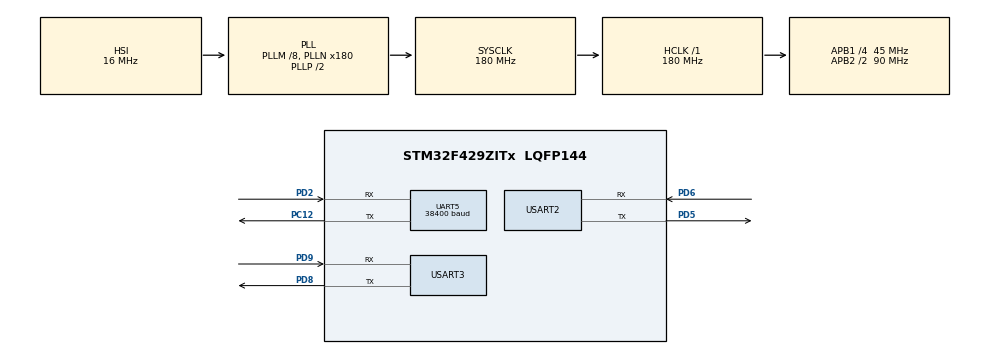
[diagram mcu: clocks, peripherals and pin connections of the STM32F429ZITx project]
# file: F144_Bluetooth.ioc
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Mcu.Family=STM32F4
Mcu.Name=STM32F429ZITx
Mcu.Package=LQFP144
NVIC.PriorityGroup=NVIC_PRIORITYGROUP_4
NVIC.USART2_IRQn=true\:0\:0\:false\:false\:true\:true
NVIC.USART3_IRQn=true\:0\:0\:false\:false\:true\:true
PA13.Mode=Serial_Wire
PA13.Signal=SYS_JTMS-SWDIO
PA14.Mode=Serial_Wire
PA14.Signal=SYS_JTCK-SWCLK
PC12.Mode=Asynchronous
PC12.Signal=UART5_TX
PC14/OSC32_IN.Mode=LSE-External-Oscillator
PC14/OSC32_IN.Signal=RCC_OSC32_IN
PC15/OSC32_OUT.Mode=LSE-External-Oscillator
PC15/OSC32_OUT.Signal=RCC_OSC32_OUT
PD2.Mode=Asynchronous
PD2.Signal=UART5_RX
PD5.Mode=Asynchronous
PD5.Signal=USART2_TX
PD6.Mode=Asynchronous
PD6.Signal=USART2_RX
PD8.Mode=Asynchronous
PD8.Signal=USART3_TX
PD9.Mode=Asynchronous
PD9.Signal=USART3_RX
PH0/OSC_IN.Mode=HSE-External-Oscillator
PH0/OSC_IN.Signal=RCC_OSC_IN
PH1/OSC_OUT.Mode=HSE-External-Oscillator
PH1/OSC_OUT.Signal=RCC_OSC_OUT
ProjectManager.HeapSize=0x200
ProjectManager.StackSize=0x400
ProjectManager.TargetToolchain=EWARM V8
RCC.48MHZClocksFreq_Value=90000000
RCC.AHBFreq_Value=180000000
RCC.APB1CLKDivider=RCC_HCLK_DIV4
RCC.APB1Freq_Value=45000000
RCC.APB1TimFreq_Value=90000000
RCC.APB2CLKDivider=RCC_HCLK_DIV2
RCC.APB2Freq_Value=90000000
RCC.APB2TimFreq_Value=180000000
RCC.CortexFreq_Value=180000000
RCC.HCLKFreq_Value=180000000
RCC.HSE_VALUE=25000000
RCC.HSI_VALUE=16000000
RCC.PLLM=8
RCC.PLLN=180
RCC.SYSCLKFreq_VALUE=180000000
RCC.SYSCLKSource=RCC_SYSCLKSOURCE_PLLCLK
RCC.VCOOutputFreq_Value=360000000
UART5.BaudRate=38400
UART5.VirtualMode=Asynchronous
USART2.VirtualMode=VM_ASYNC
USART3.VirtualMode=VM_ASYNC
board=custom

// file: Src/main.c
/* USER CODE BEGIN Header */
/**
  ******************************************************************************
  * @file           : main.c
  * @brief          : Main program body
  ******************************************************************************
  ** This notice applies to any and all portions of this file
  * that are not between comment pairs USER CODE BEGIN and
  * USER CODE END. Other portions of this file, whether
  * inserted by the user or by software development tools
  * are owned by their respective copyright owners.
  *
  * COPYRIGHT(c) 2019 STMicroelectronics
  *
  * Redistribution and use in source and binary forms, with or without modification,
  * are permitted provided that the following conditions are met:
  *   1. Redistributions of source code must retain the above copyright notice,
  *      this list of conditions and the following disclaimer.
  *   2. Redistributions in binary form must reproduce the above copyright notice,
  *      this list of conditions and the following disclaimer in the documentation
  *      and/or other materials provided with the distribution.
  *   3. Neither the name of STMicroelectronics nor the names of its contributors
  *      may be used to endorse or promote products derived from this software
  *      without specific prior written permission.
  *
  * THIS SOFTWARE IS PROVIDED BY THE COPYRIGHT HOLDERS AND CONTRIBUTORS "AS IS"
  * AND ANY EXPRESS OR IMPLIED WARRANTIES, INCLUDING, BUT NOT LIMITED TO, THE
  * IMPLIED WARRANTIES OF MERCHANTABILITY AND FITNESS FOR A PARTICULAR PURPOSE ARE
  * DISCLAIMED. IN NO EVENT SHALL THE COPYRIGHT HOLDER OR CONTRIBUTORS BE LIABLE
  * FOR ANY DIRECT, INDIRECT, INCIDENTAL, SPECIAL, EXEMPLARY, OR CONSEQUENTIAL
  * DAMAGES (INCLUDING, BUT NOT LIMITED TO, PROCUREMENT OF SUBSTITUTE GOODS OR
  * SERVICES; LOSS OF USE, DATA, OR PROFITS; OR BUSINESS INTERRUPTION) HOWEVER
  * CAUSED AND ON ANY THEORY OF LIABILITY, WHETHER IN CONTRACT, STRICT LIABILITY,
  * OR TORT (INCLUDING NEGLIGENCE OR OTHERWISE) ARISING IN ANY WAY OUT OF THE USE
  * OF THIS SOFTWARE, EVEN IF ADVISED OF THE POSSIBILITY OF SUCH DAMAGE.
  *
  ******************************************************************************
  */
/* USER CODE END Header */

#include "main.h"

/* USER CODE BEGIN Includes */
#include "bluetooth.h"
/* USER CODE END Includes */

/* USER CODE BEGIN PD */
#define PUTCHAR_PROTOTPYE int fputc(int ch, FILE *f)
/* USER CODE END PD */

UART_HandleTypeDef huart5;
UART_HandleTypeDef huart2;
UART_HandleTypeDef huart3;

void SystemClock_Config(void);
static void MX_GPIO_Init(void);
static void MX_USART3_UART_Init(void);
static void MX_USART2_UART_Init(void);
static void MX_UART5_Init(void);
/* USER CODE BEGIN PFP */
void CommandPrint();
/* USER CODE END PFP */

/* USER CODE BEGIN 0 */
int fputc(int ch, FILE *F)
{
  uint8_t temp[1] = {ch};

  HAL_UART_Transmit(&huart3, temp, 1, 0xFFFF);
  return ch;
}
/* USER CODE END 0 */

//Li-Fi data
uint8_t rx3_data;
uint8_t tx_data[5]="hello";

int main(void)
{
  /* USER CODE BEGIN 1 */
  //char *msg = "Hello!\r\n";
  /* USER CODE END 1 */

  /* MCU Configuration--------------------------------------------------------*/

  /* Reset of all peripherals, Initializes the Flash interface and the Systick. */
  HAL_Init();

  /* Configure the system clock */
  SystemClock_Config();

  /* Initialize all configured peripherals */
  MX_GPIO_Init();
  MX_USART3_UART_Init();
  MX_USART2_UART_Init();
  MX_UART5_Init();
  /* USER CODE BEGIN 2 */
  //BT_M_Init(); // master 설정
  BT_S_Init(); // slave 설정

  //CommandPrint();       // 명령 화면 출력

  __HAL_UART_ENABLE_IT(&huart2, UART_IT_RXNE);
  __HAL_UART_ENABLE_IT(&huart3, UART_IT_RXNE);

  /* USER CODE END 2 */

  /* Infinite loop */
  /* USER CODE BEGIN WHILE */
  while (1)
  {
    //printf("hello-6\r\n");
    //HAL_UART_Transmit(&huart3, "hello-2\r\n", 9, 1000);
   HAL_UART_Transmit(&huart5,tx_data,5,1000);
    HAL_Delay(1000);
    //HAL_Delay(5000);
    /* USER CODE END WHILE */

  }
}

 void HAL_UART_RxCpltCallback(UART_HandleTypeDef *huart)
{
    if(huart->Instance ==USART3)
    {
      HAL_UART_Receive_IT(&huart3,&rx3_data,5);
      HAL_UART_Transmit(&huart3,&rx3_data,5,10);
    }
}

void SystemClock_Config(void)
{
  RCC_OscInitTypeDef RCC_OscInitStruct = {0};
  RCC_ClkInitTypeDef RCC_ClkInitStruct = {0};

  /**Configure the main internal regulator output voltage
  */
  __HAL_RCC_PWR_CLK_ENABLE();
  __HAL_PWR_VOLTAGESCALING_CONFIG(PWR_REGULATOR_VOLTAGE_SCALE1);
  /**Initializes the CPU, AHB and APB busses clocks
  */
  RCC_OscInitStruct.OscillatorType = RCC_OSCILLATORTYPE_HSI;
  RCC_OscInitStruct.HSIState = RCC_HSI_ON;
  RCC_OscInitStruct.HSICalibrationValue = RCC_HSICALIBRATION_DEFAULT;
  RCC_OscInitStruct.PLL.PLLState = RCC_PLL_ON;
  RCC_OscInitStruct.PLL.PLLSource = RCC_PLLSOURCE_HSI;
  RCC_OscInitStruct.PLL.PLLM = 8;
  RCC_OscInitStruct.PLL.PLLN = 180;
  RCC_OscInitStruct.PLL.PLLP = RCC_PLLP_DIV2;
  RCC_OscInitStruct.PLL.PLLQ = 4;
  if (HAL_RCC_OscConfig(&RCC_OscInitStruct) != HAL_OK)
  {
    Error_Handler();
  }
  /**Activate the Over-Drive mode
  */
  if (HAL_PWREx_EnableOverDrive() != HAL_OK)
  {
    Error_Handler();
  }
  /**Initializes the CPU, AHB and APB busses clocks
  */
  RCC_ClkInitStruct.ClockType = RCC_CLOCKTYPE_HCLK|RCC_CLOCKTYPE_SYSCLK
                              |RCC_CLOCKTYPE_PCLK1|RCC_CLOCKTYPE_PCLK2;
  RCC_ClkInitStruct.SYSCLKSource = RCC_SYSCLKSOURCE_PLLCLK;
  RCC_ClkInitStruct.AHBCLKDivider = RCC_SYSCLK_DIV1;
  RCC_ClkInitStruct.APB1CLKDivider = RCC_HCLK_DIV4;
  RCC_ClkInitStruct.APB2CLKDivider = RCC_HCLK_DIV2;

  if (HAL_RCC_ClockConfig(&RCC_ClkInitStruct, FLASH_LATENCY_5) != HAL_OK)
  {
    Error_Handler();
  }
}

static void MX_UART5_Init(void)
{

  huart5.Instance = UART5;
  huart5.Init.BaudRate = 38400;
  huart5.Init.WordLength = UART_WORDLENGTH_8B;
  huart5.Init.StopBits = UART_STOPBITS_1;
  huart5.Init.Parity = UART_PARITY_NONE;
  huart5.Init.Mode = UART_MODE_TX_RX;
  huart5.Init.HwFlowCtl = UART_HWCONTROL_NONE;
  huart5.Init.OverSampling = UART_OVERSAMPLING_16;
  if (HAL_UART_Init(&huart5) != HAL_OK)
  {
    Error_Handler();
  }

}

static void MX_USART2_UART_Init(void)
{

  huart2.Instance = USART2;
  huart2.Init.BaudRate = 115200;
  huart2.Init.WordLength = UART_WORDLENGTH_8B;
  huart2.Init.StopBits = UART_STOPBITS_1;
  huart2.Init.Parity = UART_PARITY_NONE;
  huart2.Init.Mode = UART_MODE_TX_RX;
  huart2.Init.HwFlowCtl = UART_HWCONTROL_NONE;
  huart2.Init.OverSampling = UART_OVERSAMPLING_16;
  if (HAL_UART_Init(&huart2) != HAL_OK)
  {
    Error_Handler();
  }

}

static void MX_USART3_UART_Init(void)
{

  huart3.Instance = USART3;
  huart3.Init.BaudRate = 115200;
  huart3.Init.WordLength = UART_WORDLENGTH_8B;
  huart3.Init.StopBits = UART_STOPBITS_1;
  huart3.Init.Parity = UART_PARITY_NONE;
  huart3.Init.Mode = UART_MODE_TX_RX;
  huart3.Init.HwFlowCtl = UART_HWCONTROL_NONE;
  huart3.Init.OverSampling = UART_OVERSAMPLING_16;
  if (HAL_UART_Init(&huart3) != HAL_OK)
  {
    Error_Handler();
  }

}

static void MX_GPIO_Init(void)
{

  /* GPIO Ports Clock Enable */
  __HAL_RCC_GPIOC_CLK_ENABLE();
  __HAL_RCC_GPIOH_CLK_ENABLE();
  __HAL_RCC_GPIOD_CLK_ENABLE();
  __HAL_RCC_GPIOA_CLK_ENABLE();

}

/* USER CODE BEGIN 4 */
void CommandPrint()
{
  uint8_t* print1= "==========================================\r\n";
  uint8_t* print2= "|                      1. 마스터 설정                                     |\r\n";
  uint8_t* print3= "|                      2. 슬레이브 설정                                 |\r\n";
  uint8_t* print4= "|                      3. 마스터 / 슬레이브 변경                   |\r\n";
  uint8_t* print5= "|                      4. 초기화                                              |\r\n";
  uint8_t* print6= "|                      5. 주소확인                                           |\r\n";
  uint8_t* print7= "|                      6. IMME1 설정                                      |\r\n";
  uint8_t* print8= "|                      7. connect(used master)                        |\r\n";
  //uint8_t print7[]= "==========================================\r\n";

  HAL_UART_Transmit(&huart3, print1, 44, 1000);
  HAL_UART_Transmit(&huart3, print2, 77, 1000);
  HAL_UART_Transmit(&huart3, print3, 75, 1000);
  HAL_UART_Transmit(&huart3, print4, 69, 1000);
  HAL_UART_Transmit(&huart3, print5, 81, 1000);
  HAL_UART_Transmit(&huart3, print6, 80, 1000);
  HAL_UART_Transmit(&huart3, print7, 77, 1000);
  HAL_UART_Transmit(&huart3, print8, 73, 1000);
  HAL_UART_Transmit(&huart3, print1, 44, 1000);
}
/* USER CODE END 4 */

void Error_Handler(void)
{
}

/************************ (C) COPYRIGHT STMicroelectronics *****END OF FILE****/
